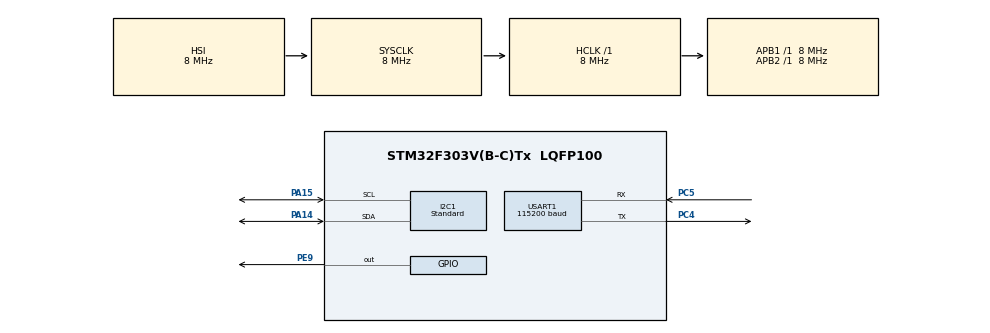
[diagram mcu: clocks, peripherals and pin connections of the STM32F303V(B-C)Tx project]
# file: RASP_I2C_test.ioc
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I2C1.Analog_Filter=I2C_ANALOGFILTER_ENABLE
I2C1.I2C_Speed_Mode=I2C_Standard
I2C1.Speed=40
I2C1.Timing=0x00103D84
Mcu.Family=STM32F3
Mcu.Name=STM32F303V(B-C)Tx
Mcu.Package=LQFP100
NVIC.I2C1_ER_IRQn=true\:0\:0\:false\:false\:true\:true\:true
NVIC.I2C1_EV_IRQn=true\:0\:0\:false\:false\:true\:true\:true
NVIC.PriorityGroup=NVIC_PRIORITYGROUP_4
NVIC.USART1_IRQn=true\:0\:0\:false\:false\:true\:true\:true
PA14.Mode=I2C
PA14.Signal=I2C1_SDA
PA15.Mode=I2C
PA15.Signal=I2C1_SCL
PC4.Mode=Asynchronous
PC4.Signal=USART1_TX
PC5.Mode=Asynchronous
PC5.Signal=USART1_RX
PE9.Signal=GPIO_Output
ProjectManager.HeapSize=0x200
ProjectManager.StackSize=0x400
ProjectManager.TargetToolchain=STM32CubeIDE
RCC.AHBFreq_Value=8000000
RCC.APB1Freq_Value=8000000
RCC.APB2Freq_Value=8000000
RCC.CortexFreq_Value=8000000
RCC.HSE_VALUE=8000000
RCC.HSI_VALUE=8000000
RCC.LSE_VALUE=32768
RCC.SYSCLKFreq_VALUE=8000000
USART1.BaudRate=115200
USART1.VirtualMode-Asynchronous=VM_ASYNC
board=custom

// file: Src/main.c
/* USER CODE BEGIN Header */
/**
  ******************************************************************************
  * @file           : main.c
  * @brief          : Main program body
  ******************************************************************************
  * @attention
  *
  * <h2><center>&copy; Copyright (c) 2020 STMicroelectronics.
  * All rights reserved.</center></h2>
  *
  * This software component is licensed by ST under BSD 3-Clause license,
  * the "License"; You may not use this file except in compliance with the
  * License. You may obtain a copy of the License at:
  *                        opensource.org/licenses/BSD-3-Clause
  *
  ******************************************************************************
  */
/* USER CODE END Header */
#include "main.h"

/* USER CODE BEGIN Includes */
#include <string.h>
#include <stdio.h>
/* USER CODE END Includes */

I2C_HandleTypeDef hi2c1;

UART_HandleTypeDef huart1;

/* USER CODE BEGIN PV */
volatile uint8_t transferDirection, transferRequested;

#define TEMP_OUT_INT_REGISTER   0x0
#define TEMP_OUT_FRAC_REGISTER  0x1
#define WHO_AM_I_REGISTER       0xF
#define WHO_AM_I_VALUE          0xBC
#define TRANSFER_DIR_WRITE      0x1
#define TRANSFER_DIR_READ       0x0
#define I2C_SLAVE_ADDR          0x33
/* USER CODE END PV */

void SystemClock_Config(void);
static void MX_GPIO_Init(void);
static void MX_I2C1_Init(void);
static void MX_USART1_UART_Init(void);

/* USER CODE BEGIN 0 */
void HAL_I2C_AddrCallback(I2C_HandleTypeDef *hi2c, uint8_t TransferDirection, uint16_t AddrMatchCode) {
  UNUSED(AddrMatchCode);

  if(hi2c->Instance == I2C1) {
    transferRequested = 1;
    transferDirection = TransferDirection;
  }
}
/* USER CODE END 0 */

int main(void)
{
  /* USER CODE BEGIN 1 */
	  char uartBuf[20];
	  uint8_t i2cBuf[2];
	  int8_t ftemp =1;
	  int8_t t_frac, t_int;
  /* USER CODE END 1 */

  /* MCU Configuration--------------------------------------------------------*/

  /* Reset of all peripherals, Initializes the Flash interface and the Systick. */
  HAL_Init();

  /* Configure the system clock */
  SystemClock_Config();

  /* Initialize all configured peripherals */
  MX_GPIO_Init();
  MX_I2C1_Init();
  MX_USART1_UART_Init();

  /* Infinite loop */
  /* USER CODE BEGIN WHILE */

  while (1)
  {
//		i2cBuf[0] = WHO_AM_I_REGISTER;
//		HAL_I2C_Master_Seq_Transmit_IT(&hi2c1, I2C_SLAVE_ADDR, i2cBuf,
//											  1, I2C_FIRST_FRAME);
//		while (HAL_I2C_GetState(&hi2c1) != HAL_I2C_STATE_READY);
//
//		HAL_I2C_Master_Seq_Receive_IT(&hi2c1, I2C_SLAVE_ADDR, i2cBuf,
//											 1, I2C_LAST_FRAME);
//		while (HAL_I2C_GetState(&hi2c1) != HAL_I2C_STATE_READY);
//
//		sprintf(uartBuf, "WHO AM I: %x\r\n", i2cBuf[0]);
//		HAL_UART_Transmit(&huart1, (uint8_t*) uartBuf, strlen(uartBuf), HAL_MAX_DELAY);
//
//		i2cBuf[0] = TEMP_OUT_INT_REGISTER;
//		HAL_I2C_Master_Seq_Transmit_IT(&hi2c1, I2C_SLAVE_ADDR, i2cBuf,
//											  1, I2C_FIRST_FRAME);
//		while (HAL_I2C_GetState(&hi2c1) != HAL_I2C_STATE_READY);
//
//		HAL_I2C_Master_Seq_Receive_IT(&hi2c1, I2C_SLAVE_ADDR, (uint8_t*)&t_int,
//											 1, I2C_LAST_FRAME);
//		while (HAL_I2C_GetState(&hi2c1) != HAL_I2C_STATE_READY);
//
//		i2cBuf[0] = TEMP_OUT_FRAC_REGISTER;
//		HAL_I2C_Master_Seq_Transmit_IT(&hi2c1, I2C_SLAVE_ADDR, i2cBuf,
//											  1, I2C_FIRST_FRAME);
//		while (HAL_I2C_GetState(&hi2c1) != HAL_I2C_STATE_READY);
//
//		HAL_I2C_Master_Seq_Receive_IT(&hi2c1, I2C_SLAVE_ADDR, (uint8_t*)&t_frac,
//											 1, I2C_LAST_FRAME);
//		while (HAL_I2C_GetState(&hi2c1) != HAL_I2C_STATE_READY);
//
//		ftemp = t_frac;
//		ftemp += t_int;
//
//		sprintf(uartBuf, "Temperature: %d\r\n", ftemp);
//		HAL_UART_Transmit(&huart1, (uint8_t*) uartBuf, strlen(uartBuf), HAL_MAX_DELAY);
//
//		HAL_Delay(300);
	  uint8_t data = 0;
	  uint8_t res = HAL_I2C_Mem_Read(&hi2c1, 0x33, 0x1, 1, &data, 1, 100);
	  char buf[0x100];
	  sprintf(buf, "i2c: %d %d\r\n", res, data);
	  HAL_UART_Transmit(&huart1, (uint8_t*) buf, strlen(buf), HAL_MAX_DELAY);
//	  CDC_Transmit_FS(buf, strlen(buf));
	  HAL_Delay(1000);
    /* USER CODE END WHILE */

  }
}

void SystemClock_Config(void)
{
  RCC_OscInitTypeDef RCC_OscInitStruct = {0};
  RCC_ClkInitTypeDef RCC_ClkInitStruct = {0};
  RCC_PeriphCLKInitTypeDef PeriphClkInit = {0};

  /** Initializes the RCC Oscillators according to the specified parameters
  * in the RCC_OscInitTypeDef structure.
  */
  RCC_OscInitStruct.OscillatorType = RCC_OSCILLATORTYPE_HSI;
  RCC_OscInitStruct.HSIState = RCC_HSI_ON;
  RCC_OscInitStruct.HSICalibrationValue = RCC_HSICALIBRATION_DEFAULT;
  RCC_OscInitStruct.PLL.PLLState = RCC_PLL_NONE;
  if (HAL_RCC_OscConfig(&RCC_OscInitStruct) != HAL_OK)
  {
    Error_Handler();
  }
  /** Initializes the CPU, AHB and APB buses clocks
  */
  RCC_ClkInitStruct.ClockType = RCC_CLOCKTYPE_HCLK|RCC_CLOCKTYPE_SYSCLK
                              |RCC_CLOCKTYPE_PCLK1|RCC_CLOCKTYPE_PCLK2;
  RCC_ClkInitStruct.SYSCLKSource = RCC_SYSCLKSOURCE_HSI;
  RCC_ClkInitStruct.AHBCLKDivider = RCC_SYSCLK_DIV1;
  RCC_ClkInitStruct.APB1CLKDivider = RCC_HCLK_DIV1;
  RCC_ClkInitStruct.APB2CLKDivider = RCC_HCLK_DIV1;

  if (HAL_RCC_ClockConfig(&RCC_ClkInitStruct, FLASH_LATENCY_0) != HAL_OK)
  {
    Error_Handler();
  }
  PeriphClkInit.PeriphClockSelection = RCC_PERIPHCLK_USART1|RCC_PERIPHCLK_I2C1;
  PeriphClkInit.Usart1ClockSelection = RCC_USART1CLKSOURCE_PCLK2;
  PeriphClkInit.I2c1ClockSelection = RCC_I2C1CLKSOURCE_HSI;
  if (HAL_RCCEx_PeriphCLKConfig(&PeriphClkInit) != HAL_OK)
  {
    Error_Handler();
  }
}

static void MX_I2C1_Init(void)
{

  hi2c1.Instance = I2C1;
  hi2c1.Init.Timing = 0x00103D84;
  hi2c1.Init.OwnAddress1 = 0;
  hi2c1.Init.AddressingMode = I2C_ADDRESSINGMODE_7BIT;
  hi2c1.Init.DualAddressMode = I2C_DUALADDRESS_DISABLE;
  hi2c1.Init.OwnAddress2 = 0;
  hi2c1.Init.OwnAddress2Masks = I2C_OA2_NOMASK;
  hi2c1.Init.GeneralCallMode = I2C_GENERALCALL_DISABLE;
  hi2c1.Init.NoStretchMode = I2C_NOSTRETCH_DISABLE;
  if (HAL_I2C_Init(&hi2c1) != HAL_OK)
  {
    Error_Handler();
  }
  /** Configure Analogue filter
  */
  if (HAL_I2CEx_ConfigAnalogFilter(&hi2c1, I2C_ANALOGFILTER_ENABLE) != HAL_OK)
  {
    Error_Handler();
  }
  /** Configure Digital filter
  */
  if (HAL_I2CEx_ConfigDigitalFilter(&hi2c1, 0) != HAL_OK)
  {
    Error_Handler();
  }

}

static void MX_USART1_UART_Init(void)
{

  huart1.Instance = USART1;
  huart1.Init.BaudRate = 115200;
  huart1.Init.WordLength = UART_WORDLENGTH_8B;
  huart1.Init.StopBits = UART_STOPBITS_1;
  huart1.Init.Parity = UART_PARITY_NONE;
  huart1.Init.Mode = UART_MODE_TX_RX;
  huart1.Init.HwFlowCtl = UART_HWCONTROL_NONE;
  huart1.Init.OverSampling = UART_OVERSAMPLING_16;
  huart1.Init.OneBitSampling = UART_ONE_BIT_SAMPLE_DISABLE;
  huart1.AdvancedInit.AdvFeatureInit = UART_ADVFEATURE_NO_INIT;
  if (HAL_UART_Init(&huart1) != HAL_OK)
  {
    Error_Handler();
  }

}

static void MX_GPIO_Init(void)
{
  GPIO_InitTypeDef GPIO_InitStruct = {0};

  /* GPIO Ports Clock Enable */
  __HAL_RCC_GPIOC_CLK_ENABLE();
  __HAL_RCC_GPIOE_CLK_ENABLE();
  __HAL_RCC_GPIOA_CLK_ENABLE();

  /*Configure GPIO pin Output Level */
  HAL_GPIO_WritePin(GPIOE, GPIO_PIN_9, GPIO_PIN_RESET);

  /*Configure GPIO pin : PE9 */
  GPIO_InitStruct.Pin = GPIO_PIN_9;
  GPIO_InitStruct.Mode = GPIO_MODE_OUTPUT_PP;
  GPIO_InitStruct.Pull = GPIO_NOPULL;
  GPIO_InitStruct.Speed = GPIO_SPEED_FREQ_LOW;
  HAL_GPIO_Init(GPIOE, &GPIO_InitStruct);

}

void Error_Handler(void)
{
}

/************************ (C) COPYRIGHT STMicroelectronics *****END OF FILE****/
